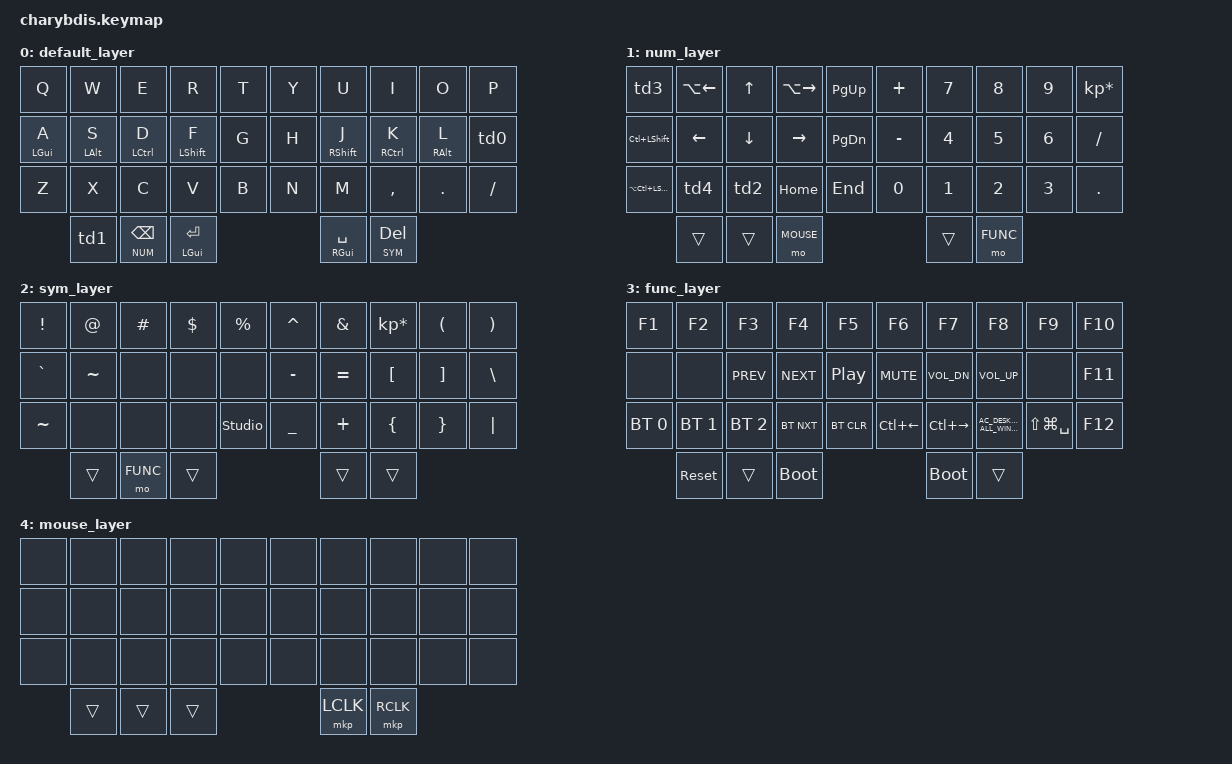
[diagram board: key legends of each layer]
#include <dt-bindings/zmk/pointing.h>
#include <dt-bindings/zmk/keys.h>
#include <dt-bindings/zmk/bt.h>
#include <dt-bindings/zmk/ext_power.h>
#include <dt-bindings/zmk/mouse.h>
#include <dt-bindings/zmk/matrix_transform.h>
#include <behaviors.dtsi>
#include <behaviors/mouse_keys.dtsi>

// Include local helper files from the Charybdis repo
#include "macros.dtsi"
#include "behaviors.dtsi"
#include "combos.dtsi"

// LAYERS
#define DEFAULT 0
#define NUM     1
#define SYM     2
#define FUNC    3
#define MOUSE   4

// MACROS
#define SUPER LC(LSHIFT)
#define SUPER2 LA(LC(LSHIFT))

// CUSTOM MACROS from Corne
#define MPWCHR X
#define MNPCHR N
#define MPWNPF &kp LS(MPWCHR) &kp MPWCHR
#define MPWNRS &kp N5 &kp N0 &kp N2 &kp N5
#define MPWNSF &kp EXCL
#define MPWXSF &kp AT &kp HASH
#define MNPWSF &kp LS(MNPCHR) &kp MNPCHR
#define MSHOWIN C_AC_DESKTOP_SHOW_ALL_WINDOWS
#define MSHRTCAT LS(LG(SPACE))

/ {
    /* 
     * Custom Matrix Transform for Charybdis Nano 3x5
     * Keeps the Inner 5 columns and drops the Outer ones (Col 0 and Col 6/OuterRight).
     * Based on default_transform: Left 0..5, Right 11..6 (Offset 6)
     * We keep Left 1..5, Right 11..7
     * Thumbs: Left 3 Keys (3,4,1), Right 2 Keys (7,9)
     */
    chosen {
        zmk,matrix_transform = &nano_transform;
    };

    nano_transform: nano_transform {
        compatible = "zmk,matrix-transform";
        columns = <12>;
        rows = <4>;
        col-offset = <6>;
        map = <
        RC(0,1) RC(0,2) RC(0,3) RC(0,4) RC(0,5)  RC(0,11) RC(0,10) RC(0,9) RC(0,8) RC(0,7)
        RC(1,1) RC(1,2) RC(1,3) RC(1,4) RC(1,5)  RC(1,11) RC(1,10) RC(1,9) RC(1,8) RC(1,7)
        RC(2,1) RC(2,2) RC(2,3) RC(2,4) RC(2,5)  RC(2,11) RC(2,10) RC(2,9) RC(2,8) RC(2,7)
                        RC(3,3) RC(3,4) RC(3,1)  RC(3,7)  RC(3,9)
        >;
    };

    behaviors {
        // Reuse behaviors from Corne
        hm: homerow_mods {
            compatible = "zmk,behavior-hold-tap";
            label = "HOMEROW_MODS";
            #binding-cells = <2>;
            tapping-term-ms = <200>;
            quick-tap-ms = <0>;
            flavor = "tap-preferred";
            bindings = <&kp>, <&kp>;
        };

        td0: tap_dance_0 {
            compatible = "zmk,behavior-tap-dance";
            label = "TAP_DANCE_0";
            #binding-cells = <0>;
            tapping-term-ms = <200>;
            bindings = <&hm RGUI SEMI>, <&kp SQT>;
        };

        td1: tap_dance_1 {
            compatible = "zmk,behavior-tap-dance";
            label = "TAP_DANCE_1";
            #binding-cells = <0>;
            tapping-term-ms = <200>;
            bindings = <&mt LCTRL TAB>, <&kp ESC>;
        };

        td2: tap_dance_2 {
            compatible = "zmk,behavior-tap-dance";
            label = "TAP_DANCE_2";
            #binding-cells = <0>;
            tapping-term-ms = <200>;
            bindings = <&kp LG(LS(N5))>, <&kp LG(LS(N4))>;
        };

        td3: tap_dance_3 {
            compatible = "zmk,behavior-tap-dance";
            label = "TAP_DANCE_3";
            #binding-cells = <0>;
            tapping-term-ms = <400>;
            bindings = <&caffe_d>, <&kp LC(LG(Q))>;
        };

        td4: tap_dance_4 {
            compatible = "zmk,behavior-tap-dance";
            label = "TAP_DANCE_4";
            #binding-cells = <0>;
            tapping-term-ms = <200>;
            bindings = <&vim_ggvg>, <&vim_rgxsr>;
        };
    };

    combos {
        compatible = "zmk,combos";
        // Ensure index alignment: 3x5 layout has indices 0-34
        // Corne indices: based on 3x6? No, Corne 3x6 has 42 keys.
        // User's corne.keymap seems to assume 3x6 indexing in combos?
        // combo_cword: 16 19.
        // In 3x6:
        // 0..5, 6..11
        // 12..17, 18..23
        // 16 is Left Inner Row 1 (G). 19 is Right Inner Row 1 (H).
        // In 3x5 (this map):
        // 0..4 (L), 5..9 (R)
        // 10..14 (L), 15..19 (R)
        // 14 is G. 15 is H.
        // So I must REMAP the combo indices.
        // Old 16 -> New 14 (G)
        // Old 19 -> New 15 (H)
        combo_cword {
            timeout-ms = <50>;
            key-positions = <14 15>;
            bindings = <&caps_word>;
        };

        // combo_vimwq: 1 2 (Q W in 3x6? No, 1 is Q, 2 is W)
        // New: 0 is Q, 1 is W.
        combo_vimwq {
            timeout-ms = <50>;
            key-positions = <0 1>;
            bindings = <&vim_quit>;
        };

        // combo_wpwrd: 1 15 (Q, Row1 LCTRL?)
        // Old 1 (Q). Old 15 (D? No. 12=A 13=S 14=D 15=F)
        // New: 0 (Q). 13?
        // Let's trace carefully:
        // Old (3x6):
        // 1 (Q)
        // 15 (F)
        // New (3x5):
        // Q is 0.
        // A=10, S=11, D=12, F=13.
        // So 0 13.
        combo_wpwrd {
            timeout-ms = <50>;
            key-positions = <0 13>;
            layers = <1>;
            bindings = <&write_pswrd>;
        };

        // combo_wnpwrd: 15 28
        // Old 15 (F)
        // Old 28 (V? No. 24=Z 25=X 26=C 27=V 28=B)
        // New: 13 (F).
        // Z=20, X=21, C=22, V=23, B=24.
        // So 13 24.
        combo_wnpwrd {
            timeout-ms = <50>;
            key-positions = <13 24>;
            layers = <1>;
            bindings = <&write_npswrd>;
        };
    };

    macros {
        vim_quit: vim_quit {
            label = "ZM_vim_quit";
            compatible = "zmk,behavior-macro";
            #binding-cells = <0>;
            bindings
                = <&macro_tap &kp ESC &kp COLON &kp W &kp Q>;
        };

        vim_ggvg: vim_ggvg {
            label = "ZM_vim_ggvg";
            compatible = "zmk,behavior-macro";
            #binding-cells = <0>;
            bindings
                = <&macro_tap &kp G &kp G &kp LS(V) &kp LS(G)>;
        };

        vim_rgxsr: vim_rgxsr {
            label = "ZM_vim_rgxsr";
            compatible = "zmk,behavior-macro";
            #binding-cells = <0>;
            bindings
                = <&macro_tap &kp ESC &kp COLON &kp PRCNT &kp S &kp FSLH>;
        };

        caffe_d: caffe_d {
            label = "ZM_caffe_d";
            compatible = "zmk,behavior-macro";
            #binding-cells = <0>;
            bindings
                = <&macro_tap &kp C &kp A &kp F &kp F &kp E &kp I &kp N &kp A &kp T &kp E &kp SPACE &kp MINUS &kp D &kp SPACE &kp AMPS &kp RET>;
        };

        write_pswrd: write_pswrd {
            label = "ZM_write_pswrd";
            compatible = "zmk,behavior-macro";
            #binding-cells = <0>;
            bindings
                = <&macro_tap MPWNPF MPWNRS MPWNRS MPWNSF>;
        };

        write_npswrd: write_npswrd {
            label = "ZM_write_n_pswrd";
            compatible = "zmk,behavior-macro";
            #binding-cells = <0>;
            bindings
                = <&macro_tap MNPWSF MPWNRS MPWNRS MPWNSF MPWXSF>;
        };
    };

    keymap {
        compatible = "zmk,keymap";

        default_layer {
            bindings = <
    &kp Q           &kp W       &kp E       &kp R           &kp T       &kp Y    &kp U           &kp I       &kp O       &kp P
    &hm LGUI A      &hm LALT S  &hm LCTRL D &hm LSHIFT F    &kp G       &kp H    &hm RSHIFT J    &hm RCTRL K &hm RALT L  &td0
    &kp Z           &kp X       &kp C       &kp V           &kp B       &kp N    &kp M           &kp COMMA   &kp DOT     &kp FSLH
                    &td1        &lt NUM BSPC &mt LGUI RET   /*L*/       /*R*/    &mt RGUI SPACE  &lt SYM DEL
            >;
        };

        num_layer {
            bindings = <
    &td3          &kp LA(LEFT)  &kp UP        &kp LA(RIGHT) &kp PG_UP     &kp PLUS   &kp N7  &kp N8  &kp N9  &kp KP_MULTIPLY
    &kp SUPER     &kp LEFT      &kp DOWN      &kp RIGHT     &kp PG_DN     &kp MINUS  &kp N4  &kp N5  &kp N6  &kp SLASH
    &kp SUPER2    &td4          &td2          &kp HOME      &kp END       &kp N0     &kp N1  &kp N2  &kp N3  &kp DOT
                  &trans        &trans        &mo MOUSE                   &trans     &mo FUNC
            >;
        };

        sym_layer {
            bindings = <
    &kp EXCL    &kp AT         &kp HASH     &kp DLLR    &kp PRCNT         &kp CARET &kp AMPS  &kp KP_MULTIPLY &kp LPAR &kp RPAR
    &kp GRAVE   &kp TILDE      &none        &none       &none             &kp MINUS &kp EQUAL &kp LBKT        &kp RBKT &kp BSLH
    &kp TILDE   &none          &none        &none       &studio_unlock    &kp UNDER &kp PLUS  &kp LBRC        &kp RBRC &kp PIPE
                &trans         &mo FUNC     &trans                        &trans    &trans
            >;
        };

        func_layer {
            bindings = <
    &kp F1          &kp F2          &kp F3          &kp F4     &kp F5              &kp F6       &kp F7         &kp F8        &kp F9         &kp F10
    &none           &none           &kp C_PREV      &kp C_NEXT &kp C_PLAY_PAUSE    &kp C_MUTE   &kp C_VOL_DN   &kp C_VOL_UP  &none          &kp F11
    &bt BT_SEL 0    &bt BT_SEL 1    &bt BT_SEL 2    &bt BT_NXT &bt BT_CLR          &kp LC(LEFT) &kp LC(RIGHT)  &kp MSHOWIN   &kp MSHRTCAT   &kp F12
                    &sys_reset      &trans          &bootloader                    &bootloader  &trans
            >;
        };
        
        mouse_layer {
            bindings = <
    &none     &none     &none     &none     &none         &none     &none     &none     &none     &none
    &none     &none     &none     &none     &none         &none     &none     &none     &none     &none
    &none     &none     &none     &none     &none         &none     &none     &none     &none     &none
              &trans    &trans    &trans                  &mkp LCLK &mkp RCLK
            >;
        };
    };
};
